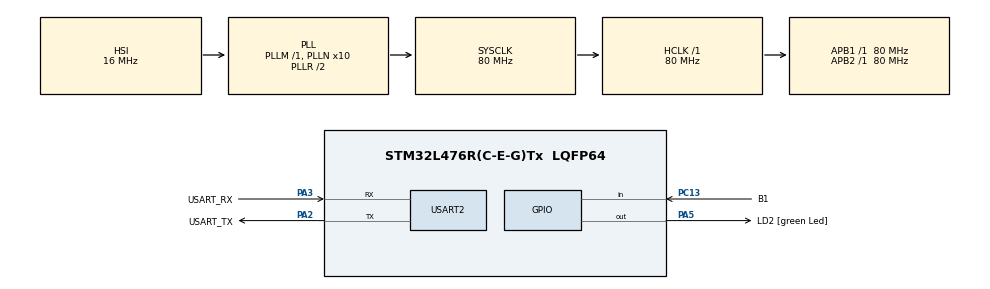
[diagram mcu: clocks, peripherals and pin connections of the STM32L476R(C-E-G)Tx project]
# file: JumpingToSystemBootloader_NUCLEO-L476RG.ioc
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Mcu.Family=STM32L4
Mcu.Name=STM32L476R(C-E-G)Tx
Mcu.Package=LQFP64
NVIC.PriorityGroup=NVIC_PRIORITYGROUP_4
PA13\ (JTMS-SWDIO).GPIO_Label=TMS
PA13\ (JTMS-SWDIO).Mode=Serial_Wire
PA13\ (JTMS-SWDIO).Signal=SYS_JTMS-SWDIO
PA14\ (JTCK-SWCLK).GPIO_Label=TCK
PA14\ (JTCK-SWCLK).Mode=Serial_Wire
PA14\ (JTCK-SWCLK).Signal=SYS_JTCK-SWCLK
PA2.GPIO_Label=USART_TX
PA2.GPIO_Mode=GPIO_MODE_AF_PP
PA2.GPIO_PuPd=GPIO_NOPULL
PA2.GPIO_Speed=GPIO_SPEED_FREQ_VERY_HIGH
PA2.Mode=Asynchronous
PA2.Signal=USART2_TX
PA3.GPIO_Label=USART_RX
PA3.GPIO_Mode=GPIO_MODE_AF_PP
PA3.GPIO_PuPd=GPIO_NOPULL
PA3.GPIO_Speed=GPIO_SPEED_FREQ_VERY_HIGH
PA3.Mode=Asynchronous
PA3.Signal=USART2_RX
PA5.GPIO_Label=LD2 [green Led]
PA5.GPIO_ModeDefaultOutputPP=GPIO_MODE_OUTPUT_PP
PA5.GPIO_PuPd=GPIO_NOPULL
PA5.GPIO_Speed=GPIO_SPEED_FREQ_LOW
PA5.Signal=GPIO_Output
PB3\ (JTDO-TRACESWO).GPIO_Label=SWO
PB3\ (JTDO-TRACESWO).Signal=SYS_JTDO-SWO
PC13.GPIO_Label=B1
PC13.Signal=GPIO_Input
PC14-OSC32_IN\ (PC14).Mode=LSE-External-Oscillator
PC14-OSC32_IN\ (PC14).Signal=RCC_OSC32_IN
PC15-OSC32_OUT\ (PC15).Mode=LSE-External-Oscillator
PC15-OSC32_OUT\ (PC15).Signal=RCC_OSC32_OUT
PH0-OSC_IN\ (PH0).Signal=RCC_OSC_IN
PH1-OSC_OUT\ (PH1).Signal=RCC_OSC_OUT
ProjectManager.HeapSize=0x200
ProjectManager.StackSize=0x400
ProjectManager.TargetToolchain=STM32CubeIDE
RCC.ADCFreq_Value=64000000
RCC.AHBFreq_Value=80000000
RCC.APB1Freq_Value=80000000
RCC.APB1TimFreq_Value=80000000
RCC.APB2Freq_Value=80000000
RCC.APB2TimFreq_Value=80000000
RCC.CortexFreq_Value=80000000
RCC.HCLKFreq_Value=80000000
RCC.HSE_VALUE=8000000
RCC.HSI_VALUE=16000000
RCC.MSI_VALUE=4000000
RCC.PLLN=10
RCC.PLLSourceVirtual=RCC_PLLSOURCE_HSI
RCC.PREFETCH_ENABLE=1
RCC.SYSCLKFreq_VALUE=80000000
RCC.SYSCLKSource=RCC_SYSCLKSOURCE_PLLCLK
RCC.USBFreq_Value=64000000
RCC.VCOOutputFreq_Value=160000000
USART2.VirtualMode-Asynchronous=VM_ASYNC
board=NUCLEO-L476RG

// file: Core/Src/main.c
/* USER CODE BEGIN Header */
/**
  ******************************************************************************
  * @file           : main.c
  * @brief          : Main program body
  ******************************************************************************
  * @attention
  *
  * Copyright (c) 2023 STMicroelectronics.
  * All rights reserved.
  *
  * This software is licensed under terms that can be found in the LICENSE file
  * in the root directory of this software component.
  * If no LICENSE file comes with this software, it is provided AS-IS.
  *
  ******************************************************************************
  */
/* USER CODE END Header */
#include "main.h"

/* USER CODE BEGIN Includes */
#include <stdbool.h>
/* USER CODE END Includes */

/* USER CODE BEGIN PD */
#define JUMP_TO_BOOT_VALUE 0xB007B007
#define UART_BOOTLOADER_ADDRESS 0x1FFF0000
/* USER CODE END PD */

UART_HandleTypeDef huart2;

/* USER CODE BEGIN PV */
uint32_t jump_to_boot_persistent __attribute__((section(".noinit")));
void (*sys_mem_boot_jump_func)(void);
/* USER CODE END PV */

void SystemClock_Config(void);
static void MX_GPIO_Init(void);
static void MX_USART2_UART_Init(void);
/* USER CODE BEGIN PFP */
bool debounce_button(void);
void initiate_jump_to_bootloader(void);
/* USER CODE END PFP */

int main(void)
{
  /* USER CODE BEGIN 1 */
  if (jump_to_boot_persistent == JUMP_TO_BOOT_VALUE)
    initiate_jump_to_bootloader();
  /* USER CODE END 1 */

  /* MCU Configuration--------------------------------------------------------*/

  /* Reset of all peripherals, Initializes the Flash interface and the Systick. */
  HAL_Init();

  /* Configure the system clock */
  SystemClock_Config();

  /* Initialize all configured peripherals */
  MX_GPIO_Init();
  MX_USART2_UART_Init();

  /* Infinite loop */
  /* USER CODE BEGIN WHILE */
  while (1)
  {
	  if (debounce_button())
	  {
	    jump_to_boot_persistent = JUMP_TO_BOOT_VALUE;
	    NVIC_SystemReset();
	  }
    /* USER CODE END WHILE */

  }
}

void SystemClock_Config(void)
{
  RCC_OscInitTypeDef RCC_OscInitStruct = {0};
  RCC_ClkInitTypeDef RCC_ClkInitStruct = {0};

  /** Configure the main internal regulator output voltage
  */
  if (HAL_PWREx_ControlVoltageScaling(PWR_REGULATOR_VOLTAGE_SCALE1) != HAL_OK)
  {
    Error_Handler();
  }

  /** Initializes the RCC Oscillators according to the specified parameters
  * in the RCC_OscInitTypeDef structure.
  */
  RCC_OscInitStruct.OscillatorType = RCC_OSCILLATORTYPE_HSI;
  RCC_OscInitStruct.HSIState = RCC_HSI_ON;
  RCC_OscInitStruct.HSICalibrationValue = RCC_HSICALIBRATION_DEFAULT;
  RCC_OscInitStruct.PLL.PLLState = RCC_PLL_ON;
  RCC_OscInitStruct.PLL.PLLSource = RCC_PLLSOURCE_HSI;
  RCC_OscInitStruct.PLL.PLLM = 1;
  RCC_OscInitStruct.PLL.PLLN = 10;
  RCC_OscInitStruct.PLL.PLLP = RCC_PLLP_DIV7;
  RCC_OscInitStruct.PLL.PLLQ = RCC_PLLQ_DIV2;
  RCC_OscInitStruct.PLL.PLLR = RCC_PLLR_DIV2;
  if (HAL_RCC_OscConfig(&RCC_OscInitStruct) != HAL_OK)
  {
    Error_Handler();
  }

  /** Initializes the CPU, AHB and APB buses clocks
  */
  RCC_ClkInitStruct.ClockType = RCC_CLOCKTYPE_HCLK|RCC_CLOCKTYPE_SYSCLK
                              |RCC_CLOCKTYPE_PCLK1|RCC_CLOCKTYPE_PCLK2;
  RCC_ClkInitStruct.SYSCLKSource = RCC_SYSCLKSOURCE_PLLCLK;
  RCC_ClkInitStruct.AHBCLKDivider = RCC_SYSCLK_DIV1;
  RCC_ClkInitStruct.APB1CLKDivider = RCC_HCLK_DIV1;
  RCC_ClkInitStruct.APB2CLKDivider = RCC_HCLK_DIV1;

  if (HAL_RCC_ClockConfig(&RCC_ClkInitStruct, FLASH_LATENCY_4) != HAL_OK)
  {
    Error_Handler();
  }
}

static void MX_USART2_UART_Init(void)
{

  huart2.Instance = USART2;
  huart2.Init.BaudRate = 115200;
  huart2.Init.WordLength = UART_WORDLENGTH_8B;
  huart2.Init.StopBits = UART_STOPBITS_1;
  huart2.Init.Parity = UART_PARITY_NONE;
  huart2.Init.Mode = UART_MODE_TX_RX;
  huart2.Init.HwFlowCtl = UART_HWCONTROL_NONE;
  huart2.Init.OverSampling = UART_OVERSAMPLING_16;
  huart2.Init.OneBitSampling = UART_ONE_BIT_SAMPLE_DISABLE;
  huart2.AdvancedInit.AdvFeatureInit = UART_ADVFEATURE_NO_INIT;
  if (HAL_UART_Init(&huart2) != HAL_OK)
  {
    Error_Handler();
  }

}

static void MX_GPIO_Init(void)
{
  GPIO_InitTypeDef GPIO_InitStruct = {0};

  /* GPIO Ports Clock Enable */
  __HAL_RCC_GPIOC_CLK_ENABLE();
  __HAL_RCC_GPIOH_CLK_ENABLE();
  __HAL_RCC_GPIOA_CLK_ENABLE();
  __HAL_RCC_GPIOB_CLK_ENABLE();

  /*Configure GPIO pin Output Level */
  HAL_GPIO_WritePin(LD2_GPIO_Port, LD2_Pin, GPIO_PIN_RESET);

  /*Configure GPIO pin : B1_Pin */
  GPIO_InitStruct.Pin = B1_Pin;
  GPIO_InitStruct.Mode = GPIO_MODE_INPUT;
  GPIO_InitStruct.Pull = GPIO_NOPULL;
  HAL_GPIO_Init(B1_GPIO_Port, &GPIO_InitStruct);

  /*Configure GPIO pin : LD2_Pin */
  GPIO_InitStruct.Pin = LD2_Pin;
  GPIO_InitStruct.Mode = GPIO_MODE_OUTPUT_PP;
  GPIO_InitStruct.Pull = GPIO_NOPULL;
  GPIO_InitStruct.Speed = GPIO_SPEED_FREQ_LOW;
  HAL_GPIO_Init(LD2_GPIO_Port, &GPIO_InitStruct);

}

/* USER CODE BEGIN 4 */
bool debounce_button(void)
{
	static uint16_t state = 0;
	state = (state << 1) | !HAL_GPIO_ReadPin(B1_GPIO_Port, B1_Pin) | 0xE000;
	return state == 0xF000;
}

void initiate_jump_to_bootloader(void)
{
  uint32_t jump_address = UART_BOOTLOADER_ADDRESS + 4;
  sys_mem_boot_jump_func = (void (*) (void)) (*((uint32_t *) jump_address));
  HAL_RCC_DeInit();
  SysTick->CTRL = 0;
  SysTick->LOAD = 0;
  SysTick->VAL = 0;
  __disable_irq();
  __DSB();__HAL_SYSCFG_REMAPMEMORY_SYSTEMFLASH();
  __DSB();__ISB();
  __set_MSP(*(__IO uint32_t*)UART_BOOTLOADER_ADDRESS);
  sys_mem_boot_jump_func();
}
/* USER CODE END 4 */

void Error_Handler(void)
{
  __disable_irq();
  while (1)
  {
  }
}
